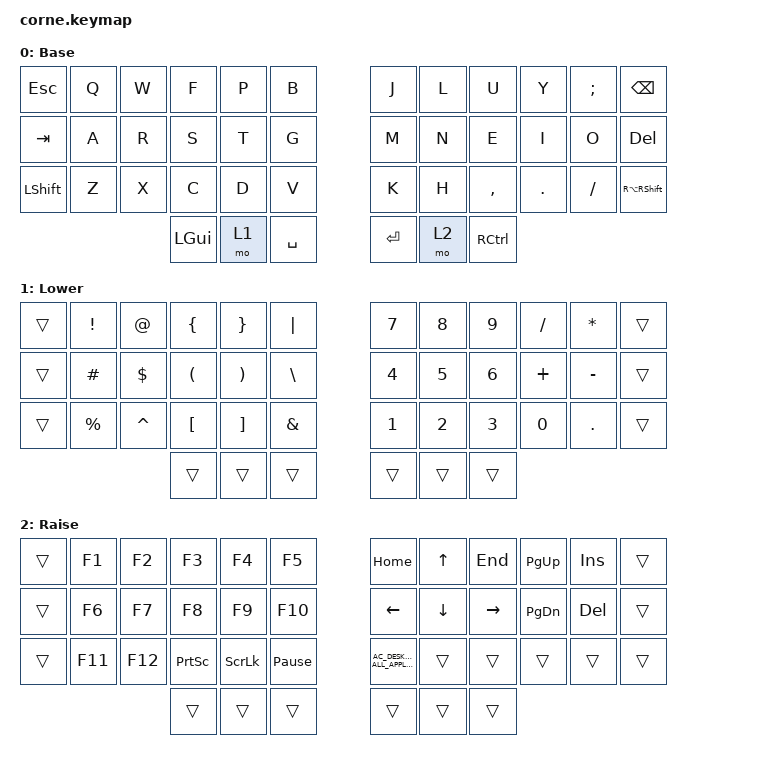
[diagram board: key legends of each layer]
/*
 * Copyright (c) 2020 The ZMK Contributors
 *
 * SPDX-License-Identifier: MIT
 */

#include <behaviors.dtsi>
#include <dt-bindings/zmk/keys.h>

/ {
    keymap {
        compatible = "zmk,keymap";

        default_layer {
            // -----------------------------------------------------------------------------------------
            // |  TAB |  Q  |  W  |  E  |  R  |  T  |   |  Y  |  U   |  I  |  O  |  P  | BKSP |
            // | CTRL |  A  |  S  |  D  |  F  |  G  |   |  H  |  J   |  K  |  L  |  ;  |  '   |
            // | SHFT |  Z  |  X  |  C  |  V  |  B  |   |  N  |  M   |  ,  |  .  |  /  | ESC  |
            //                    | GUI | LWR | SPC |   | ENT | RSE  | ALT |

            display-name = "Base";
            bindings = <
&kp ESCAPE  &kp Q  &kp W  &kp F     &kp P  &kp B        &kp J    &kp L  &kp U              &kp Y    &kp SEMICOLON  &kp BSPC
&kp TAB     &kp A  &kp R  &kp S     &kp T  &kp G        &kp M    &kp N  &kp E              &kp I    &kp O          &kp DELETE
&kp LSHFT   &kp Z  &kp X  &kp C     &kp D  &kp V        &kp K    &kp H  &kp COMMA          &kp DOT  &kp FSLH       &kp RA(RSHFT)
                          &kp LGUI  &mo 1  &kp SPACE    &kp RET  &mo 2  &kp RIGHT_CONTROL
            >;
        };

        lower_layer {
            // -----------------------------------------------------------------------------------------
            // |  TAB |  1  |  2  |  3  |  4  |  5  |   |  6  |  7  |  8  |  9  |  0  | BKSP |
            // | BTCLR| BT1 | BT2 | BT3 | BT4 | BT5 |   | LFT | DWN |  UP | RGT |     |      |
            // | SHFT |     |     |     |     |     |   |     |     |     |     |     |      |
            //                    | GUI |     | SPC |   | ENT |     | ALT |

            display-name = "Lower";
            bindings = <
&trans  &kp EXCLAMATION  &kp AT_SIGN  &kp LEFT_BRACE        &kp RIGHT_BRACE        &kp PIPE    &kp N7  &kp N8  &kp N9  &kp SLASH  &kp ASTRK   &trans
&trans  &kp POUND        &kp DOLLAR   &kp LEFT_PARENTHESIS  &kp RIGHT_PARENTHESIS  &kp BSLH    &kp N4  &kp N5  &kp N6  &kp PLUS   &kp MINUS   &trans
&trans  &kp PERCENT      &kp CARET    &kp LBKT              &kp RBKT               &kp AMPS    &kp N1  &kp N2  &kp N3  &kp N0     &kp PERIOD  &trans
                                      &trans                &trans                 &trans      &trans  &trans  &trans
            >;
        };

        raise_layer {
            // -----------------------------------------------------------------------------------------
            // |  TAB |  !  |  @  |  #  |  $  |  %  |   |  ^  |  &  |  *  |  (  |  )  | BKSP |
            // | CTRL |     |     |     |     |     |   |  -  |  =  |  [  |  ]  |  \  |  `   |
            // | SHFT |     |     |     |     |     |   |  _  |  +  |  {  |  }  | "|" |  ~   |
            //                    | GUI |     | SPC |   | ENT |     | ALT |

            display-name = "Raise";
            bindings = <
&trans  &kp F1   &kp F2   &kp F3           &kp F4          &kp F5             &kp HOME                                &kp UP    &kp END    &kp PAGE_UP    &kp INS  &trans
&trans  &kp F6   &kp F7   &kp F8           &kp F9          &kp F10            &kp LEFT                                &kp DOWN  &kp RIGHT  &kp PAGE_DOWN  &kp DEL  &trans
&trans  &kp F11  &kp F12  &kp PRINTSCREEN  &kp SCROLLLOCK  &kp PAUSE_BREAK    &kp C_AC_DESKTOP_SHOW_ALL_APPLICATIONS  &trans    &trans     &trans         &trans   &trans
                          &trans           &trans          &trans             &trans                                  &trans    &trans
            >;
        };

        extra_1 { status = "reserved"; };

        extra_2 { status = "reserved"; };

        extra_3 { status = "reserved"; };
    };
};
